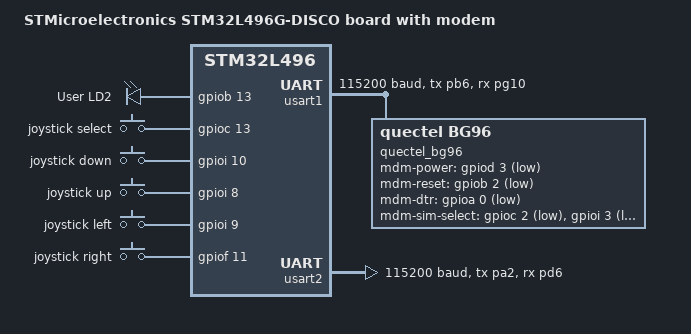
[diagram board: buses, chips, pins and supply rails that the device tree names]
/*
 * Copyright (c) 2017 Linaro Limited
 *
 * SPDX-License-Identifier: Apache-2.0
 */

/dts-v1/;
#include <st/l4/stm32l496Xg.dtsi>
#include <st/l4/stm32l496a(e-g)ix-pinctrl.dtsi>
#include "arduino_r3_connector.dtsi"

/ {
	model = "STMicroelectronics STM32L496G-DISCO board with modem";
	compatible = "st,stm32l496-cell";

	chosen {
		/* IOTEMBSYS: Choose correct UART */
		zephyr,console = &usart2;
		zephyr,shell-uart = &usart2;
		zephyr,sram = &sram0;
		zephyr,flash = &flash0;
		zephyr,code-partition = &slot0_partition;
	};

	leds {
		compatible = "gpio-leds";
		green_led_2: led_2 {
			gpios = <&gpiob 13 GPIO_ACTIVE_HIGH>;
			label = "User LD2";
		};
	};

	/* IOTEMBSYS: Add joystick GPIO keys */
	gpio_keys {
		compatible = "gpio-keys";
		joy_sel: joystick_select {
			label = "joystick select";
			gpios = <&gpioc 13 (GPIO_ACTIVE_HIGH | GPIO_PULL_DOWN)>;
		};
		joy_down: joystick_down {
			label = "joystick down";
			gpios = <&gpioi 10 (GPIO_ACTIVE_HIGH | GPIO_PULL_DOWN)>;
		};
		joy_up: joystick_up {
			label = "joystick up";
			gpios = <&gpioi 8 (GPIO_ACTIVE_HIGH | GPIO_PULL_DOWN)>;
		};
		joy_left: joystick_left {
			label = "joystick left";
			gpios = <&gpioi 9 (GPIO_ACTIVE_HIGH | GPIO_PULL_DOWN)>;
		};
		joy_right: joystick_right {
			label = "joystick right";
			gpios = <&gpiof 11 (GPIO_ACTIVE_HIGH | GPIO_PULL_DOWN)>;
		};
	};

	aliases {
		led0 = &green_led_2;
		sw0 = &joy_sel;
		sw1 = &joy_down;
		sw2 = &joy_right;
		sw3 = &joy_up;
		sw4 = &joy_left;
	};

};

&flash0 {
	partitions {
		compatible = "fixed-partitions";
		#address-cells = <1>;
		#size-cells = <1>;

		boot_partition: partition@0 {
			label = "mcuboot";
			reg = <0x00000000 0x00010000>;
			read-only;
		};
		slot0_partition: partition@10000 {
			label = "image-0";
			reg = <0x00010000 0x00070000>;
		};
		slot1_partition: partition@80000 {
			label = "image-1";
			reg = <0x00080000 0x00070000>;
		};
		storage_partition: partition@90000 {
			label = "storage";
			reg = <0x000F0000 0x1000>;
		};
	};
};

&clk_lsi {
	status = "okay";
};

&clk_hsi48 {
	status = "okay";
};

&clk_hsi {
	status = "okay";
};

&pll {
	div-m = <1>;
	mul-n = <20>;
	div-p = <7>;
	div-q = <2>;
	div-r = <4>;
	clocks = <&clk_hsi>;
	status = "okay";
};

&rcc {
	clocks = <&pll>;
	clock-frequency = <DT_FREQ_M(80)>;
	ahb-prescaler = <1>;
	apb1-prescaler = <1>;
	apb2-prescaler = <1>;
};

&usart1 {
	pinctrl-0 = <&usart1_tx_pb6 &usart1_rx_pg10>;
	pinctrl-names = "default";
	current-speed = <115200>;
	status = "okay";

	/* QUECTEL BG96 */
	/* IOTEMBSYS: Add BG96 device node */
	quectel_bg96: quectel_bg96 {
		compatible = "quectel,bg96";
		mdm-power-gpios = <&gpiod 3 GPIO_ACTIVE_LOW>;
		mdm-reset-gpios = <&gpiob 2 GPIO_ACTIVE_LOW>;
		mdm-dtr-gpios = <&gpioa 0 GPIO_ACTIVE_LOW>;
		mdm-sim-select-gpios = <&gpioc 2 GPIO_ACTIVE_LOW>, <&gpioi 3 GPIO_ACTIVE_LOW>;
		status = "okay";
	};
};

/* IOTEMBSYS: Add UART node */
&usart2 {
	pinctrl-0 = <&usart2_tx_pa2 &usart2_rx_pd6>;
	pinctrl-names = "default";
	current-speed = <115200>;
	status = "okay";
};
